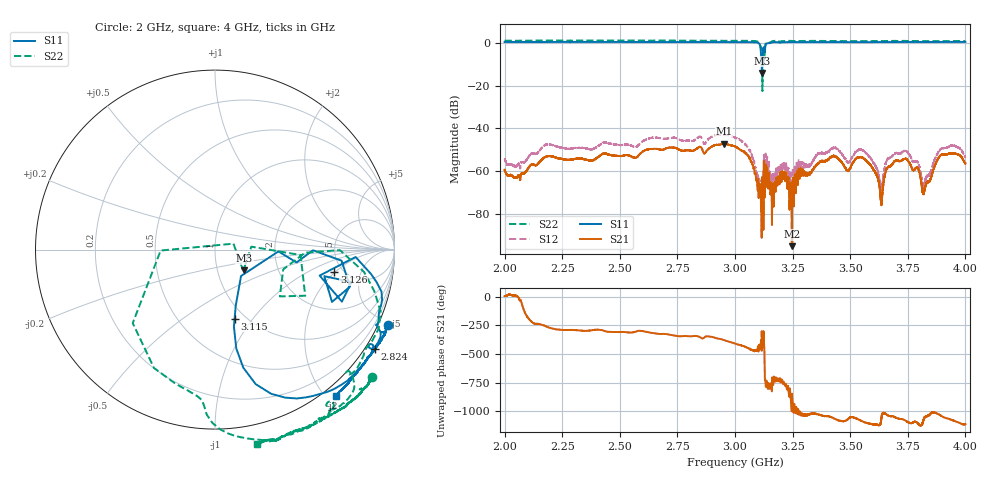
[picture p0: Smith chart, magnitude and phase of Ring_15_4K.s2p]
!Agilent Technologies,N5230C,SG49000117,A.08.50.07
!Agilent N5230C: A.08.50.07
!Date: Tuesday, May 07, 2024 03:05:03
!Correction: S11(Full 2 Port(1,2))
!S21(Full 2 Port(1,2))
!S12(Full 2 Port(1,2))
!S22(Full 2 Port(1,2))
!S2P File: Measurements: S11, S21, S12, S22:
# Hz S  MA  R 50
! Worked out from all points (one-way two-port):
!   20001 points, 2 GHz to 4 GHz, reference 50 ohm
!   highest |S21| = -47.13 dB at 2.952 GHz (marker M1); lowest = -95.1 dB at 3.247 GHz (marker M2)
!   lowest |S11| = -14.0 dB at 3.117 GHz (marker M3), VSWR 1.50, Z = 67.2 - j16 ohm
!   |S11| at or under -10 dB: 3.115594 GHz to 3.117811 GHz (2.218 MHz wide, 0.0712 % of centre)
!   |S22| runs from -22.5 to 1.2 dB; largest |S21 - S12| = 0.0039
!   S11 on the Smith chart (normalised r, x): 2 GHz: -0.60, -4.71; 2.824 GHz: -0.32, -3.48; 3.115 GHz: 0.89, -0.82; 3.126 GHz: 4.26, -1.94; 4 GHz: -0.15, -2.11
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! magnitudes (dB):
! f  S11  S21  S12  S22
! 2 GHz  0.4  -59.4  -54.2  1.0
! 2.333 GHz  0.5  -54.2  -49.1  1.1
! 2.667 GHz  0.4  -49.7  -44.5  1.1
! 2.824 GHz  0.4  -50.2  -45.5  1.0
! 2.952 GHz  0.4  -47.1  -43.0  1.0
! 3 GHz  0.4  -48.4  -44.3  1.0
! 3.058 GHz  0.4  -52.7  -48.9  1.0
! 3.115 GHz  -8.0  -67.6  -67.9  -2.3
! 3.117 GHz  -14.0  -64.1  -64.6  -4.7
! 3.126 GHz  -3.4  -57.7  -53.9  -7.8
! 3.139 GHz  -0.2  -58.2  -53.3  0.1
! 3.16 GHz  0.2  -75.8  -71.1  0.7
! 3.214 GHz  0.3  -60.4  -56.4  0.9
! 3.247 GHz  0.4  -95.1  -89.3  0.9
! 3.333 GHz  0.4  -60.0  -56.0  0.9
! 3.548 GHz  0.4  -53.5  -50.0  0.9
! 3.635 GHz  0.4  -74.7  -72.4  0.9
! 3.667 GHz  0.4  -57.9  -54.0  0.9
! 3.745 GHz  0.4  -54.6  -50.8  0.9
! 3.819 GHz  0.4  -69.8  -67.8  0.8
! 3.896 GHz  0.4  -52.3  -49.5  0.9
! 4 GHz  0.5  -56.4  -53.5  0.9
